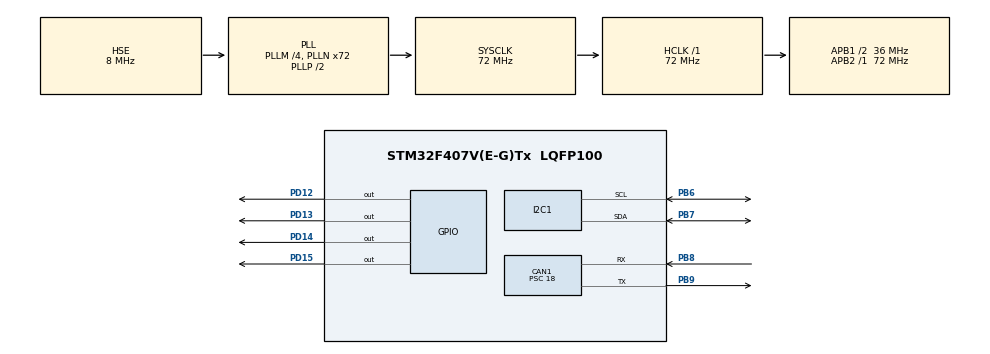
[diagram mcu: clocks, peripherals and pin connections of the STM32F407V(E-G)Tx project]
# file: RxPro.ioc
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CAN1.BS1=CAN_BS1_2TQ
CAN1.CalculateBaudRate=500000
CAN1.CalculateTimeBit=2000
CAN1.CalculateTimeQuantum=500.0
CAN1.Prescaler=18
Mcu.Family=STM32F4
Mcu.Name=STM32F407V(E-G)Tx
Mcu.Package=LQFP100
NVIC.CAN1_RX0_IRQn=true\:0\:0\:false\:false\:true\:true\:true\:true
NVIC.PriorityGroup=NVIC_PRIORITYGROUP_0
PB6.Mode=I2C
PB6.Signal=I2C1_SCL
PB7.Mode=I2C
PB7.Signal=I2C1_SDA
PB8.Mode=CAN_Activate
PB8.Signal=CAN1_RX
PB9.Mode=CAN_Activate
PB9.Signal=CAN1_TX
PD12.Signal=GPIO_Output
PD13.Signal=GPIO_Output
PD14.Signal=GPIO_Output
PD15.Signal=GPIO_Output
PH0-OSC_IN.Mode=HSE-External-Oscillator
PH0-OSC_IN.Signal=RCC_OSC_IN
PH1-OSC_OUT.Mode=HSE-External-Oscillator
PH1-OSC_OUT.Signal=RCC_OSC_OUT
ProjectManager.HeapSize=0x200
ProjectManager.StackSize=0x400
ProjectManager.TargetToolchain=STM32CubeIDE
RCC.48MHZClocksFreq_Value=20571428.57142857
RCC.AHBFreq_Value=72000000
RCC.APB1CLKDivider=RCC_HCLK_DIV2
RCC.APB1Freq_Value=36000000
RCC.APB1TimFreq_Value=72000000
RCC.APB2Freq_Value=72000000
RCC.APB2TimFreq_Value=72000000
RCC.CortexFreq_Value=72000000
RCC.HCLKFreq_Value=72000000
RCC.HSE_VALUE=8000000
RCC.HSI_VALUE=16000000
RCC.LSE_VALUE=32768
RCC.PLLM=4
RCC.PLLN=72
RCC.PLLQ=7
RCC.PLLSourceVirtual=RCC_PLLSOURCE_HSE
RCC.SYSCLKFreq_VALUE=72000000
RCC.SYSCLKSource=RCC_SYSCLKSOURCE_PLLCLK
RCC.VCOOutputFreq_Value=144000000
board=STM32F407G-DISC1

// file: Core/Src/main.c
/* USER CODE BEGIN Header */
/**
  ******************************************************************************
  * @file           : main.c
  * @brief          : Main program body
  ******************************************************************************
  * @attention
  *
  * Copyright (c) 2024 STMicroelectronics.
  * All rights reserved.
  *
  * This software is licensed under terms that can be found in the LICENSE file
  * in the root directory of this software component.
  * If no LICENSE file comes with this software, it is provided AS-IS.
  *
  ******************************************************************************
  */
/* USER CODE END Header */
#include "main.h"

/* USER CODE BEGIN Includes */
#include<stdio.h>
#include "i2c-lcd.h"
/* USER CODE END Includes */

CAN_HandleTypeDef hcan1;

I2C_HandleTypeDef hi2c1;

void SystemClock_Config(void);
static void MX_GPIO_Init(void);
static void MX_CAN1_Init(void);
static void MX_I2C1_Init(void);

/* USER CODE BEGIN 0 */
CAN_RxHeaderTypeDef RxHeader;
uint8_t RxData[5];
char str[20];

void HAL_CAN_RxFifo0MsgPendingCallback(CAN_HandleTypeDef *hcan){

	HAL_GPIO_WritePin(GPIOD, GPIO_PIN_15, GPIO_PIN_SET); // blue
	HAL_CAN_GetRxMessage(&hcan1, CAN_RX_FIFO0, &RxHeader, RxData);
}
/* USER CODE END 0 */

int main(void)
{

  /* MCU Configuration--------------------------------------------------------*/

  /* Reset of all peripherals, Initializes the Flash interface and the Systick. */
  HAL_Init();

  /* Configure the system clock */
  SystemClock_Config();

  /* Initialize all configured peripherals */
  MX_GPIO_Init();
  MX_CAN1_Init();
  MX_I2C1_Init();
  /* USER CODE BEGIN 2 */
  HAL_CAN_Start(&hcan1);
  HAL_CAN_ActivateNotification(&hcan1, CAN_IT_RX_FIFO0_MSG_PENDING);
  HAL_Delay(100);
  HAL_Delay(100);

  lcd_init();
  lcd_clear();
  /* USER CODE END 2 */

  /* Infinite loop */
  /* USER CODE BEGIN WHILE */
  while (1)
  {
	  lcd_clear();
  	  sprintf(str, "Temp:%d",RxData[1]);
  	  lcd_send_cmd(0x80|0x00);
  	  lcd_send_string(str);

  	  sprintf(str, "Dist:%d",RxData[2]);
  	  lcd_send_cmd(0x80|0x40);
  	  lcd_send_string(str);

  		if(RxData[0] == 1){
  			HAL_GPIO_WritePin(GPIOD, GPIO_PIN_14, GPIO_PIN_SET); //
  		}
  		if(RxData[0] == 0){
  			HAL_GPIO_WritePin(GPIOD, GPIO_PIN_14, GPIO_PIN_RESET); //
  		}

    /* USER CODE END WHILE */

  }
}

void SystemClock_Config(void)
{
  RCC_OscInitTypeDef RCC_OscInitStruct = {0};
  RCC_ClkInitTypeDef RCC_ClkInitStruct = {0};

  /** Configure the main internal regulator output voltage
  */
  __HAL_RCC_PWR_CLK_ENABLE();
  __HAL_PWR_VOLTAGESCALING_CONFIG(PWR_REGULATOR_VOLTAGE_SCALE1);

  /** Initializes the RCC Oscillators according to the specified parameters
  * in the RCC_OscInitTypeDef structure.
  */
  RCC_OscInitStruct.OscillatorType = RCC_OSCILLATORTYPE_HSE;
  RCC_OscInitStruct.HSEState = RCC_HSE_ON;
  RCC_OscInitStruct.PLL.PLLState = RCC_PLL_ON;
  RCC_OscInitStruct.PLL.PLLSource = RCC_PLLSOURCE_HSE;
  RCC_OscInitStruct.PLL.PLLM = 4;
  RCC_OscInitStruct.PLL.PLLN = 72;
  RCC_OscInitStruct.PLL.PLLP = RCC_PLLP_DIV2;
  RCC_OscInitStruct.PLL.PLLQ = 7;
  if (HAL_RCC_OscConfig(&RCC_OscInitStruct) != HAL_OK)
  {
    Error_Handler();
  }

  /** Initializes the CPU, AHB and APB buses clocks
  */
  RCC_ClkInitStruct.ClockType = RCC_CLOCKTYPE_HCLK|RCC_CLOCKTYPE_SYSCLK
                              |RCC_CLOCKTYPE_PCLK1|RCC_CLOCKTYPE_PCLK2;
  RCC_ClkInitStruct.SYSCLKSource = RCC_SYSCLKSOURCE_PLLCLK;
  RCC_ClkInitStruct.AHBCLKDivider = RCC_SYSCLK_DIV1;
  RCC_ClkInitStruct.APB1CLKDivider = RCC_HCLK_DIV2;
  RCC_ClkInitStruct.APB2CLKDivider = RCC_HCLK_DIV1;

  if (HAL_RCC_ClockConfig(&RCC_ClkInitStruct, FLASH_LATENCY_2) != HAL_OK)
  {
    Error_Handler();
  }
}

static void MX_CAN1_Init(void)
{

  hcan1.Instance = CAN1;
  hcan1.Init.Prescaler = 18;
  hcan1.Init.Mode = CAN_MODE_NORMAL;
  hcan1.Init.SyncJumpWidth = CAN_SJW_1TQ;
  hcan1.Init.TimeSeg1 = CAN_BS1_2TQ;
  hcan1.Init.TimeSeg2 = CAN_BS2_1TQ;
  hcan1.Init.TimeTriggeredMode = DISABLE;
  hcan1.Init.AutoBusOff = DISABLE;
  hcan1.Init.AutoWakeUp = DISABLE;
  hcan1.Init.AutoRetransmission = DISABLE;
  hcan1.Init.ReceiveFifoLocked = DISABLE;
  hcan1.Init.TransmitFifoPriority = DISABLE;
  if (HAL_CAN_Init(&hcan1) != HAL_OK)
  {
    Error_Handler();
  }
  /* USER CODE BEGIN CAN1_Init 2 */
  CAN_FilterTypeDef canFilterConfig;
  canFilterConfig.FilterActivation=CAN_FILTER_ENABLE;
  canFilterConfig.SlaveStartFilterBank=14;
  canFilterConfig.FilterBank=2;
  canFilterConfig.FilterFIFOAssignment=CAN_RX_FIFO0;
  canFilterConfig.FilterScale=CAN_FILTERSCALE_32BIT;
  canFilterConfig.FilterMode=CAN_FILTERMODE_IDMASK;
  canFilterConfig.FilterMaskIdLow=0x0000;
  canFilterConfig.FilterMaskIdHigh=0xFF00;
  canFilterConfig.FilterIdLow=0x0000;
  canFilterConfig.FilterIdHigh=0x1500;
  HAL_CAN_ConfigFilter(&hcan1, &canFilterConfig);
  /* USER CODE END CAN1_Init 2 */

}

static void MX_I2C1_Init(void)
{

  hi2c1.Instance = I2C1;
  hi2c1.Init.ClockSpeed = 100000;
  hi2c1.Init.DutyCycle = I2C_DUTYCYCLE_2;
  hi2c1.Init.OwnAddress1 = 0;
  hi2c1.Init.AddressingMode = I2C_ADDRESSINGMODE_7BIT;
  hi2c1.Init.DualAddressMode = I2C_DUALADDRESS_DISABLE;
  hi2c1.Init.OwnAddress2 = 0;
  hi2c1.Init.GeneralCallMode = I2C_GENERALCALL_DISABLE;
  hi2c1.Init.NoStretchMode = I2C_NOSTRETCH_DISABLE;
  if (HAL_I2C_Init(&hi2c1) != HAL_OK)
  {
    Error_Handler();
  }

}

static void MX_GPIO_Init(void)
{
  GPIO_InitTypeDef GPIO_InitStruct = {0};

  /* GPIO Ports Clock Enable */
  __HAL_RCC_GPIOH_CLK_ENABLE();
  __HAL_RCC_GPIOD_CLK_ENABLE();
  __HAL_RCC_GPIOB_CLK_ENABLE();

  /*Configure GPIO pin Output Level */
  HAL_GPIO_WritePin(GPIOD, GPIO_PIN_12|GPIO_PIN_13|GPIO_PIN_14|GPIO_PIN_15, GPIO_PIN_RESET);

  /*Configure GPIO pins : PD12 PD13 PD14 PD15 */
  GPIO_InitStruct.Pin = GPIO_PIN_12|GPIO_PIN_13|GPIO_PIN_14|GPIO_PIN_15;
  GPIO_InitStruct.Mode = GPIO_MODE_OUTPUT_PP;
  GPIO_InitStruct.Pull = GPIO_NOPULL;
  GPIO_InitStruct.Speed = GPIO_SPEED_FREQ_LOW;
  HAL_GPIO_Init(GPIOD, &GPIO_InitStruct);

}

void Error_Handler(void)
{
  __disable_irq();
  while (1)
  {
  }
}
